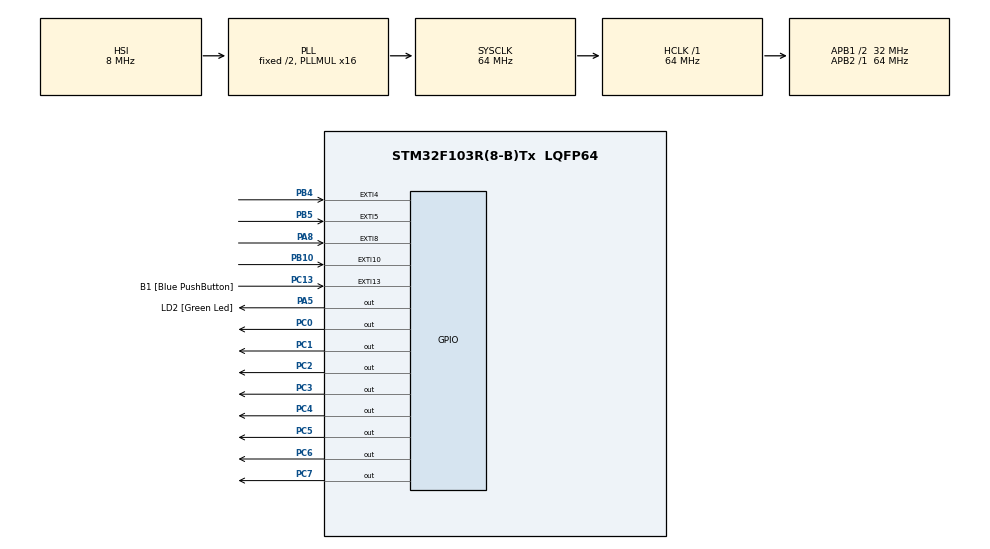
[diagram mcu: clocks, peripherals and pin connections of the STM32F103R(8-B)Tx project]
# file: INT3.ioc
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Mcu.Family=STM32F1
Mcu.Name=STM32F103R(8-B)Tx
Mcu.Package=LQFP64
NVIC.EXTI15_10_IRQn=true\:0\:0\:false\:false\:true\:true\:true\:true
NVIC.EXTI4_IRQn=true\:0\:0\:false\:false\:true\:true\:true\:true
NVIC.EXTI9_5_IRQn=true\:0\:0\:false\:false\:true\:true\:true\:true
NVIC.PriorityGroup=NVIC_PRIORITYGROUP_4
PA5.GPIO_Label=LD2 [Green Led]
PA5.GPIO_ModeDefaultOutputPP=GPIO_MODE_OUTPUT_PP
PA5.GPIO_PuPd=GPIO_NOPULL
PA5.GPIO_Speed=GPIO_SPEED_FREQ_LOW
PA5.Signal=GPIO_Output
PA8.Signal=GPXTI8
PB10.Signal=GPXTI10
PB4.Signal=GPXTI4
PB5.Signal=GPXTI5
PC0.Signal=GPIO_Output
PC1.Signal=GPIO_Output
PC13-TAMPER-RTC.GPIO_Label=B1 [Blue PushButton]
PC13-TAMPER-RTC.GPIO_PuPd=GPIO_NOPULL
PC13-TAMPER-RTC.Signal=GPXTI13
PC2.Signal=GPIO_Output
PC3.Signal=GPIO_Output
PC4.Signal=GPIO_Output
PC5.Signal=GPIO_Output
PC6.Signal=GPIO_Output
PC7.Signal=GPIO_Output
ProjectManager.HeapSize=0x200
ProjectManager.StackSize=0x400
ProjectManager.TargetToolchain=STM32CubeIDE
RCC.AHBFreq_Value=64000000
RCC.APB1CLKDivider=RCC_HCLK_DIV2
RCC.APB1Freq_Value=32000000
RCC.APB1TimFreq_Value=64000000
RCC.APB2Freq_Value=64000000
RCC.APB2TimFreq_Value=64000000
RCC.HCLKFreq_Value=64000000
RCC.PLLMUL=RCC_PLL_MUL16
RCC.RTCClockSelection=RCC_RTCCLKSOURCE_LSE
RCC.SYSCLKFreq_VALUE=64000000
RCC.SYSCLKSource=RCC_SYSCLKSOURCE_PLLCLK
RCC.USBFreq_Value=64000000
VP_SYS_VS_ND.Mode=No_Debug
board=NUCLEO-F103RB

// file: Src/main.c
/* USER CODE BEGIN Header */
/**
 ******************************************************************************
 * @file           : main.c
 * @brief          : Main program body
 ******************************************************************************
 * @attention
 *
 * Copyright (c) 2024 STMicroelectronics.
 * All rights reserved.
 *
 * This software is licensed under terms that can be found in the LICENSE file
 * in the root directory of this software component.
 * If no LICENSE file comes with this software, it is provided AS-IS.
 *
 ******************************************************************************
 */
/* USER CODE END Header */
#include "main.h"

/* USER CODE BEGIN PV */
int flag_sw1 = 0, flag_sw2 = 0, flag_sw3 = 0, flag_sw4 = 0;	// 플래그 변수 초기화
/* USER CODE END PV */

void SystemClock_Config(void);
static void MX_GPIO_Init(void);
/* USER CODE BEGIN PFP */
void HAL_GPIO_EXTI_Callback(uint16_t GPIO_Pin) {
	if (GPIO_Pin == GPIO_PIN_8) {				// 스위치 1이 눌리면 플래그 1이 1이 됨
		flag_sw1 = 1;
	} else if (GPIO_Pin == GPIO_PIN_4) {		// 스위치 2이 눌리면 플래그 2이 1이 됨
		flag_sw2 = 1;
	} else if (GPIO_Pin == GPIO_PIN_5) {		// 스위치 3이 눌리면 플래그 3이 1이 됨
		flag_sw3 = 1;
	} else if (GPIO_Pin == GPIO_PIN_10) {		// 스위치 4이 눌리면 플래그 4이 1이 됨
		flag_sw4 = 1;
	}
}
void LED_OnOff(uint16_t led, int delay) {			// led가 delay시간 동안 켜졌다 꺼지는 함수
	HAL_GPIO_WritePin(GPIOC, led, GPIO_PIN_SET);
	HAL_Delay(delay);
	HAL_GPIO_WritePin(GPIOC, led, GPIO_PIN_RESET);
}
/* USER CODE END PFP */

int main(void) {

	/* USER CODE BEGIN 1 */
	uint16_t led = 0x00;
	/* USER CODE END 1 */

	/* MCU Configuration--------------------------------------------------------*/

	/* Reset of all peripherals, Initializes the Flash interface and the Systick. */
	HAL_Init();

	/* Configure the system clock */
	SystemClock_Config();

	/* Initialize all configured peripherals */
	MX_GPIO_Init();
	/* USER CODE BEGIN 2 */
	LED_OnOff(0xff, 500);
	/* USER CODE END 2 */

	/* Infinite loop */
	/* USER CODE BEGIN WHILE */
	while (1) {
		led = 0x00;						// led 초기화
		/* USER CODE END WHILE */
		if (flag_sw1 == 1) {
			led = led | 0x03;			// led 1번, 2번
			LED_OnOff(led, 300);		// 0.3초 동안 켜졌다가 꺼짐
			flag_sw1 = 0;				// 다시 플래그는 0
		}

		else if (flag_sw2 == 1) {
			led = led | 0x0c;			// led 3번, 4번
			LED_OnOff(led, 300);		// 0.3초 동안 켜졌다가 꺼짐
			flag_sw2 = 0;				// 다시 플래그는 0
		}

		else if (flag_sw3 == 1) {
			led = led | 0x30;			// led 5번, 6번
			LED_OnOff(led, 300);		// 0.3초 동안 켜졌다가 꺼짐
			flag_sw3 = 0;				// 다시 플래그는 0
		}

		else if (flag_sw4 == 1) {
			led = led | 0xc0;			// led 7번, 8번
			LED_OnOff(led, 300);		// 0.3초 동안 켜졌다가 꺼짐
			flag_sw4 = 0;				// 다시 플래그는 0
		}
	}
}

void SystemClock_Config(void) {
	RCC_OscInitTypeDef RCC_OscInitStruct = { 0 };
	RCC_ClkInitTypeDef RCC_ClkInitStruct = { 0 };

	/** Initializes the RCC Oscillators according to the specified parameters
	 * in the RCC_OscInitTypeDef structure.
	 */
	RCC_OscInitStruct.OscillatorType = RCC_OSCILLATORTYPE_HSI;
	RCC_OscInitStruct.HSIState = RCC_HSI_ON;
	RCC_OscInitStruct.HSICalibrationValue = RCC_HSICALIBRATION_DEFAULT;
	RCC_OscInitStruct.PLL.PLLState = RCC_PLL_ON;
	RCC_OscInitStruct.PLL.PLLSource = RCC_PLLSOURCE_HSI_DIV2;
	RCC_OscInitStruct.PLL.PLLMUL = RCC_PLL_MUL16;
	if (HAL_RCC_OscConfig(&RCC_OscInitStruct) != HAL_OK) {
		Error_Handler();
	}

	/** Initializes the CPU, AHB and APB buses clocks
	 */
	RCC_ClkInitStruct.ClockType = RCC_CLOCKTYPE_HCLK | RCC_CLOCKTYPE_SYSCLK
			| RCC_CLOCKTYPE_PCLK1 | RCC_CLOCKTYPE_PCLK2;
	RCC_ClkInitStruct.SYSCLKSource = RCC_SYSCLKSOURCE_PLLCLK;
	RCC_ClkInitStruct.AHBCLKDivider = RCC_SYSCLK_DIV1;
	RCC_ClkInitStruct.APB1CLKDivider = RCC_HCLK_DIV2;
	RCC_ClkInitStruct.APB2CLKDivider = RCC_HCLK_DIV1;

	if (HAL_RCC_ClockConfig(&RCC_ClkInitStruct, FLASH_LATENCY_2) != HAL_OK) {
		Error_Handler();
	}
}

static void MX_GPIO_Init(void) {
	GPIO_InitTypeDef GPIO_InitStruct = { 0 };

	/* GPIO Ports Clock Enable */
	__HAL_RCC_GPIOC_CLK_ENABLE();
	__HAL_RCC_GPIOA_CLK_ENABLE();
	__HAL_RCC_GPIOB_CLK_ENABLE();

	/*Configure GPIO pin Output Level */
	HAL_GPIO_WritePin(GPIOC,
			GPIO_PIN_0 | GPIO_PIN_1 | GPIO_PIN_2 | GPIO_PIN_3 | GPIO_PIN_4
					| GPIO_PIN_5 | GPIO_PIN_6 | GPIO_PIN_7, GPIO_PIN_RESET);

	/*Configure GPIO pin Output Level */
	HAL_GPIO_WritePin(LD2_GPIO_Port, LD2_Pin, GPIO_PIN_RESET);

	/*Configure GPIO pin : B1_Pin */
	GPIO_InitStruct.Pin = B1_Pin;
	GPIO_InitStruct.Mode = GPIO_MODE_IT_FALLING;
	GPIO_InitStruct.Pull = GPIO_NOPULL;
	HAL_GPIO_Init(B1_GPIO_Port, &GPIO_InitStruct);

	/*Configure GPIO pins : PC0 PC1 PC2 PC3
	 PC4 PC5 PC6 PC7 */
	GPIO_InitStruct.Pin = GPIO_PIN_0 | GPIO_PIN_1 | GPIO_PIN_2 | GPIO_PIN_3
			| GPIO_PIN_4 | GPIO_PIN_5 | GPIO_PIN_6 | GPIO_PIN_7;
	GPIO_InitStruct.Mode = GPIO_MODE_OUTPUT_PP;
	GPIO_InitStruct.Pull = GPIO_NOPULL;
	GPIO_InitStruct.Speed = GPIO_SPEED_FREQ_LOW;
	HAL_GPIO_Init(GPIOC, &GPIO_InitStruct);

	/*Configure GPIO pin : LD2_Pin */
	GPIO_InitStruct.Pin = LD2_Pin;
	GPIO_InitStruct.Mode = GPIO_MODE_OUTPUT_PP;
	GPIO_InitStruct.Pull = GPIO_NOPULL;
	GPIO_InitStruct.Speed = GPIO_SPEED_FREQ_LOW;
	HAL_GPIO_Init(LD2_GPIO_Port, &GPIO_InitStruct);

	/*Configure GPIO pins : PB10 PB4 PB5 */
	GPIO_InitStruct.Pin = GPIO_PIN_10 | GPIO_PIN_4 | GPIO_PIN_5;
	GPIO_InitStruct.Mode = GPIO_MODE_IT_FALLING;
	GPIO_InitStruct.Pull = GPIO_NOPULL;
	HAL_GPIO_Init(GPIOB, &GPIO_InitStruct);

	/*Configure GPIO pin : PA8 */
	GPIO_InitStruct.Pin = GPIO_PIN_8;
	GPIO_InitStruct.Mode = GPIO_MODE_IT_FALLING;
	GPIO_InitStruct.Pull = GPIO_NOPULL;
	HAL_GPIO_Init(GPIOA, &GPIO_InitStruct);

	/* EXTI interrupt init*/
	HAL_NVIC_SetPriority(EXTI4_IRQn, 0, 0);
	HAL_NVIC_EnableIRQ(EXTI4_IRQn);

	HAL_NVIC_SetPriority(EXTI9_5_IRQn, 0, 0);
	HAL_NVIC_EnableIRQ(EXTI9_5_IRQn);

	HAL_NVIC_SetPriority(EXTI15_10_IRQn, 0, 0);
	HAL_NVIC_EnableIRQ(EXTI15_10_IRQn);

}

void Error_Handler(void) {
	__disable_irq();
	while (1) {
	}
}
